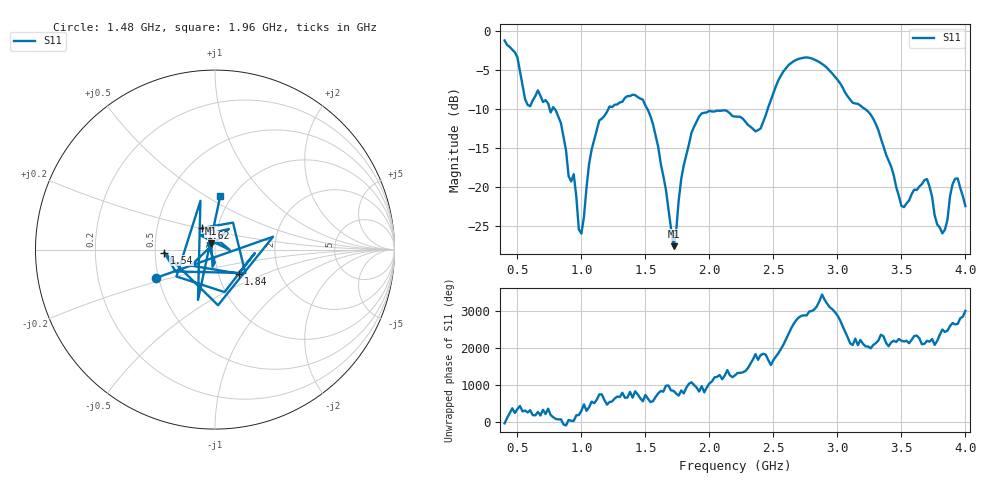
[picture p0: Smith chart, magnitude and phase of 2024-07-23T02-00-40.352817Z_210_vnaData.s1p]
!Created with skrf (http://scikit-rf.org).
# Hz S RI R 50.0
!freq ReS11 ImS11
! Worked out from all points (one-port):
!   181 points, 400 MHz to 4 GHz, reference 50 ohm
!   lowest |S11| = -27.5 dB at 1.72 GHz (marker M1), VSWR 1.09, Z = 47.5 + j3.28 ohm
!   |S11| at or under -10 dB: 790.1 MHz to 1.211 GHz (421.1 MHz wide, 42.1 % of centre); 1.515 GHz to 2.456 GHz (941.5 MHz wide, 47.4 % of centre); 3.213 GHz to end of sweep (the widest 3 of 4)
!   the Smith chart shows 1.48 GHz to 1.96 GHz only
!   S11 on the Smith chart (normalised r, x): 1.48 GHz: 0.49, -0.18; 1.54 GHz: 0.56, -0.02; 1.62 GHz: 0.84, +0.20; 1.84 GHz: 1.25, -0.35; 1.96 GHz: 0.88, +0.58
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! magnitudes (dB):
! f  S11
! 400 MHz  -1.3
! 500 MHz  -3.4
! 580 MHz  -9.5
! 660 MHz  -7.6
! 860 MHz  -13.6
! 940 MHz  -18.4
! 1 GHz  -25.9
! 1.06 GHz  -17.0
! 1.14 GHz  -11.5
! 1.3 GHz  -9.2
! 1.48 GHz  -8.8
! 1.54 GHz  -11.0
! 1.62 GHz  -17.0
! 1.72 GHz  -27.5
! 1.76 GHz  -21.7
! 1.84 GHz  -14.6
! 1.96 GHz  -10.5
! 2.2 GHz  -11.0
! 2.4 GHz  -12.5
! 2.66 GHz  -3.9
! 3.1 GHz  -8.8
! 3.28 GHz  -11.3
! 3.5 GHz  -22.4
! 3.56 GHz  -21.7
! 3.7 GHz  -19.0
! 3.82 GHz  -25.9
! 3.92 GHz  -18.9
! 4 GHz  -22.4
